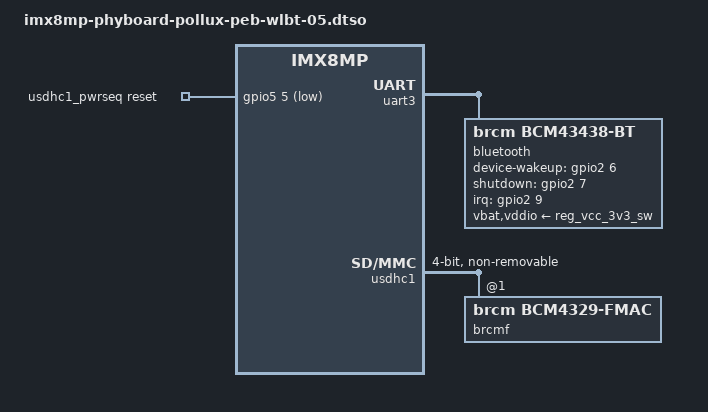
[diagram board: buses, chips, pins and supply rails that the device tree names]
// SPDX-License-Identifier: GPL-2.0
/*
 * Copyright (C) 2021 PHYTEC Messtechnik GmbH
 * Author: Christian Hemp <c.hemp@phytec.de>
 *	   Cem Tenruh <c.tenruh@phytec.de>
 *
 */

/dts-v1/;
/plugin/;

#include <dt-bindings/clock/imx8mp-clock.h>
#include <dt-bindings/gpio/gpio.h>
#include <dt-bindings/input/input.h>
#include <dt-bindings/interrupt-controller/arm-gic.h>
#include <dt-bindings/reset/imx8mp-reset.h>
#include <dt-bindings/thermal/thermal.h>

#include "../imx8mp-pinfunc.h"

/ {
	compatible = "phytec,imx8mp-phyboard-pollux-rdk";
};

&{/} {
	usdhc1_pwrseq: pwr_seq {
		compatible = "mmc-pwrseq-simple";
		post-power-on-delay-ms = <100>;
		power-off-delay-us = <60>;
		reset-gpios = <&gpio5 5 GPIO_ACTIVE_LOW>;
	};
};

&uart3 {
	assigned-clocks = <&clk IMX8MP_CLK_UART3>;
	assigned-clock-parents = <&clk IMX8MP_SYS_PLL1_80M>;
	dma-names = "";
	dmas = <0>;
	pinctrl-names = "default";
	pinctrl-0 = <&pinctrl_uart3_bt>;
	status = "okay";
	uart-has-rtscts;

	bluetooth {
		compatible = "brcm,bcm43438-bt";
		device-wakeup-gpios = <&gpio2 6 GPIO_ACTIVE_HIGH>;
		interrupts = <9 IRQ_TYPE_EDGE_BOTH>;
		interrupt-names = "host-wakeup";
		interrupt-parent = <&gpio2>;
		max-speed = <2000000>;
		pinctrl-names = "default";
		pinctrl-0 = <&pinctrl_bt>;
		shutdown-gpios = <&gpio2 7 GPIO_ACTIVE_HIGH>;
		vbat-supply = <&reg_vcc_3v3_sw>;
		vddio-supply = <&reg_vcc_3v3_sw>;
	};
};

&usdhc1 {
	bus-width = <4>;
	mmc-pwrseq = <&usdhc1_pwrseq>;
	non-removable;
	no-1-8-v;
	pinctrl-names = "default";
	pinctrl-0 = <&pinctrl_usdhc1>;
	status = "okay";
	#address-cells = <1>;
	#size-cells = <0>;

	brcmf: wifi@1 {
		compatible = "brcm,bcm4329-fmac";
		reg = <1>;
	};
};

&iomuxc {

	pinctrl_bt: btgrp {
		fsl,pins = <
			MX8MP_IOMUXC_SD1_DATA4__GPIO2_IO06	0x11
			MX8MP_IOMUXC_SD1_DATA5__GPIO2_IO07	0x11
			MX8MP_IOMUXC_SD1_DATA7__GPIO2_IO09	0x11
		>;
	};

	pinctrl_uart3_bt: uart3grp_bt {
		fsl,pins = <
			MX8MP_IOMUXC_UART3_RXD__UART3_DCE_RX	0x149
			MX8MP_IOMUXC_UART3_TXD__UART3_DCE_TX	0x149
			MX8MP_IOMUXC_SD1_RESET_B__UART3_DCE_RTS	0x149
			MX8MP_IOMUXC_SD1_STROBE__UART3_DCE_CTS	0x149
		>;
	};

	pinctrl_usdhc1: usdhc1grp {
		fsl,pins = <
			MX8MP_IOMUXC_SPDIF_EXT_CLK__GPIO5_IO05	0x1d0
			MX8MP_IOMUXC_SD1_CLK__USDHC1_CLK        0x190
			MX8MP_IOMUXC_SD1_CMD__USDHC1_CMD        0x1d0
			MX8MP_IOMUXC_SD1_DATA0__USDHC1_DATA0    0x1d0
			MX8MP_IOMUXC_SD1_DATA1__USDHC1_DATA1    0x1d0
			MX8MP_IOMUXC_SD1_DATA2__USDHC1_DATA2    0x1d0
			MX8MP_IOMUXC_SD1_DATA3__USDHC1_DATA3    0x1d0
		>;
	};
};
